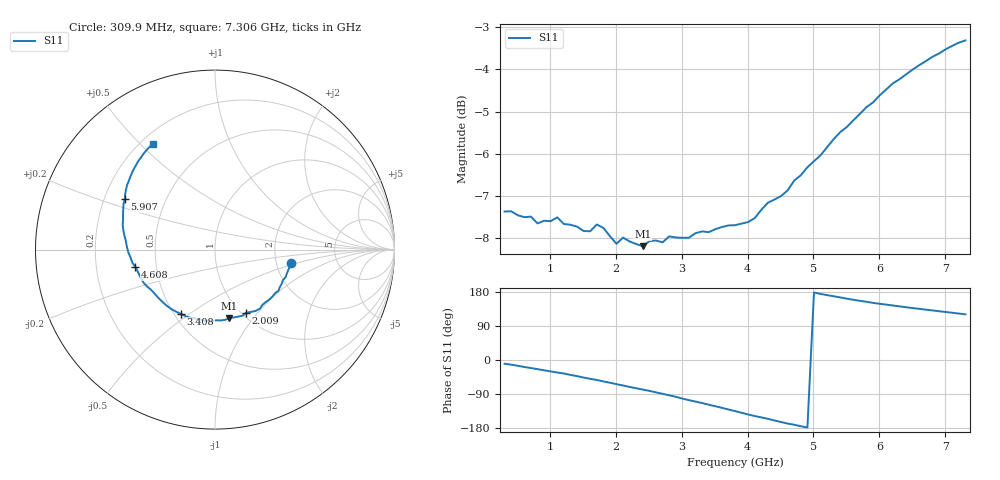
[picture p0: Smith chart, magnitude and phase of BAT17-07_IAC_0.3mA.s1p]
! Infineon Technologies  Discrete & RF Semiconductors
! BAT17-07
! IAC = 0.3 mA
! One-Port S-Parameters
# Hz  S  MA  R  50
!f  S11
!Hz  Mag  Ang
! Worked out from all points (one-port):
!   71 points, 309.9 MHz to 7.306 GHz, reference 50 ohm
!   lowest |S11| = -8.2 dB at 2.409 GHz (marker M1), VSWR 2.28, Z = 42.8 - j38.5 ohm
!   |S11| at or under -10 dB: nowhere
!   S11 on the Smith chart (normalised r, x): 309.9 MHz: 2.41, -0.43; 2.009 GHz: 1.05, -0.87; 3.408 GHz: 0.54, -0.46; 4.608 GHz: 0.38, -0.09; 5.907 GHz: 0.29, +0.24; 7.306 GHz: 0.25, +0.54
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3.0985e8  0.4284 -9.9
7.0965e8  0.4225 -21.2
8.096e8  0.4148 -24.1
1.10945e9  0.4217 -33.0
1.2094e9  0.4142 -35.6
1.6092e9  0.406 -49.7
1.70915e9  0.4136 -52.6
2.009e9  0.3924 -63.8
2.10895e9  0.3991 -67.3
2.4088e9  0.3899 -78.0
2.8086e9  0.4004 -93.2
3.0085e9  0.3988 -101.8
3.2084e9  0.4039 -109.7
3.4083e9  0.4051 -117.8
3.6082e9  0.4107 -126.1
3.8081e9  0.4128 -134.8
4.10795e9  0.4208 -148.0
4.30785e9  0.4389 -155.2
4.6077e9  0.4539 -167.7
4.70765e9  0.4661 -170.9
4.90755e9  0.4832 -178.2
5.30735e9  0.5218 168.1
5.6072e9  0.5494 158.8
5.90705e9  0.5767 150.6
6.2069e9  0.6073 143.8
6.50675e9  0.6305 137.1
6.8066e9  0.6528 130.9
7.30635e9  0.6824 120.5
